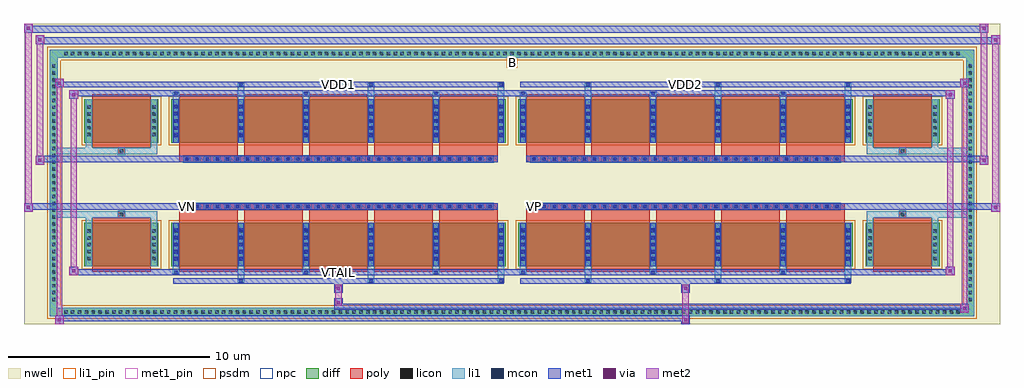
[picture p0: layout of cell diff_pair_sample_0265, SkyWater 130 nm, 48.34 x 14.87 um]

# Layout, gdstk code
import gdstk
lib = gdstk.Library(unit=1e-6, precision=5e-09)
def R(c, l, rs):  # rectangles x0, y0, x1, y1
    for r in rs: c.add(gdstk.rectangle(r[:2], r[2:], *l))
def A(c, l, x, y, w, h, nx, ny, dx, dy):  # array of equal rectangles
    R(c, l, [(x+i*dx, y+j*dy, x+i*dx+w, y+j*dy+h) for i in range(nx) for j in range(ny)])
def P(c, l, *ps):  # polygons
    for p in ps: c.add(gdstk.Polygon(p, *l))
nwell = (64, 20)
diff = (65, 20)
poly = (66, 20)
licon = (66, 44)
li1_pin = (67, 16)
li1 = (67, 20)
mcon = (67, 44)
met1_pin = (68, 16)
met1 = (68, 20)
via = (68, 44)
met2 = (69, 20)
psdm = (94, 20)
npc = (95, 20)

diff_pair_sample_0265 = lib.new_cell('diff_pair_sample_0265')
R(diff_pair_sample_0265, nwell, [(-24.17,-7,24.17,7.87), (-21.49,-5.19,-0.01,-0.805), (0.01,-5.19,21.49,-0.805), (-21.49,0.805,-0.01,5.19), (0.01,0.805,21.49,5.19)])
A(diff_pair_sample_0265, diff, -22.305, -6.6, 0.41, 0.41, 131, 2, 0.34, 12.79)
A(diff_pair_sample_0265, diff, -22.9, -5.985, 0.41, 0.41, 1, 35, 0, 0.34)
A(diff_pair_sample_0265, diff, 22.49, -5.985, 0.41, 0.41, 1, 35, 0, 0.34)
R(diff_pair_sample_0265, diff, [(-22.305,-6.6,22.305,-6.19), (-22.9,-5.985,-22.49,5.985), (22.49,-5.985,22.9,5.985), (-21.18,-4.145,-17.51,-1.985), (-16.87,-4.145,-0.32,-1.985), (0.32,-4.145,16.87,-1.985), (17.51,-4.145,21.18,-1.985), (-21.18,1.985,-17.51,4.145), (-16.87,1.985,-0.32,4.145), (0.32,1.985,16.87,4.145), (17.51,1.985,21.18,4.145), (-22.305,6.19,22.305,6.6)])
P(diff_pair_sample_0265, diff, [(22.9,6.6),(-22.9,6.6),(-22.9,-6.19),(-22.49,-6.19),(-22.49,6.19),(22.49,6.19),(22.49,-6.19),(-22.49,-6.19),(-22.9,-6.19),(-22.9,-6.6),(22.9,-6.6)])
A(diff_pair_sample_0265, poly, -16.48, -4.395, 2.89, 2.66, 5, 2, 3.22, 6.13)
A(diff_pair_sample_0265, poly, 0.71, -4.395, 2.89, 2.66, 5, 2, 3.22, 6.13)
A(diff_pair_sample_0265, poly, -16.48, -1.735, 2.89, 0.4, 5, 2, 3.22, 3.07)
A(diff_pair_sample_0265, poly, 0.71, -1.735, 2.89, 0.4, 5, 2, 3.22, 3.07)
A(diff_pair_sample_0265, poly, -16.26, -1.335, 0.33, 0.33, 31, 2, 0.5, 2.34)
A(diff_pair_sample_0265, poly, 0.93, -1.335, 0.33, 0.33, 31, 2, 0.5, 2.34)
R(diff_pair_sample_0265, poly, [(-20.79,-4.395,-17.9,-1.735), (17.9,-4.395,20.79,-1.735), (-19.51,-1.735,-19.18,-1.405), (-19.51,-1.735,-19.18,-1.405), (19.18,-1.735,19.51,-1.405), (19.18,-1.735,19.51,-1.405), (-16.48,-1.335,-0.71,-1.005), (0.71,-1.335,16.48,-1.005), (-16.48,1.005,-0.71,1.335), (0.71,1.005,16.48,1.335), (-19.51,1.405,-19.18,1.735), (-19.51,1.405,-19.18,1.735), (19.18,1.405,19.51,1.735), (19.18,1.405,19.51,1.735), (-20.79,1.735,-17.9,4.395), (17.9,1.735,20.79,4.395)])
A(diff_pair_sample_0265, licon, -22.185, -6.48, 0.17, 0.17, 131, 2, 0.34, 12.79)
A(diff_pair_sample_0265, licon, -22.78, -5.865, 0.17, 0.17, 1, 35, 0, 0.34)
A(diff_pair_sample_0265, licon, 22.61, -5.865, 0.17, 0.17, 1, 35, 0, 0.34)
A(diff_pair_sample_0265, licon, -21.04, -3.83, 0.17, 0.17, 1, 5, 0, 0.34)
A(diff_pair_sample_0265, licon, -17.82, -3.83, 0.17, 0.17, 1, 5, 0, 0.34)
A(diff_pair_sample_0265, licon, -16.73, -3.83, 0.17, 0.17, 6, 5, 3.22, 0.34)
A(diff_pair_sample_0265, licon, 0.46, -3.83, 0.17, 0.17, 6, 5, 3.22, 0.34)
A(diff_pair_sample_0265, licon, 17.65, -3.83, 0.17, 0.17, 1, 5, 0, 0.34)
A(diff_pair_sample_0265, licon, 20.87, -3.83, 0.17, 0.17, 1, 5, 0, 0.34)
A(diff_pair_sample_0265, licon, -16.18, -1.255, 0.17, 0.17, 31, 2, 0.5, 2.34)
A(diff_pair_sample_0265, licon, 1.01, -1.255, 0.17, 0.17, 31, 2, 0.5, 2.34)
A(diff_pair_sample_0265, licon, -21.04, 2.3, 0.17, 0.17, 1, 5, 0, 0.34)
A(diff_pair_sample_0265, licon, -17.82, 2.3, 0.17, 0.17, 1, 5, 0, 0.34)
A(diff_pair_sample_0265, licon, -16.73, 2.3, 0.17, 0.17, 6, 5, 3.22, 0.34)
A(diff_pair_sample_0265, licon, 0.46, 2.3, 0.17, 0.17, 6, 5, 3.22, 0.34)
A(diff_pair_sample_0265, licon, 17.65, 2.3, 0.17, 0.17, 1, 5, 0, 0.34)
A(diff_pair_sample_0265, licon, 20.87, 2.3, 0.17, 0.17, 1, 5, 0, 0.34)
R(diff_pair_sample_0265, licon, [(-19.43,-1.655,-19.26,-1.485), (19.26,-1.655,19.43,-1.485), (-19.43,1.485,-19.26,1.655), (19.26,1.485,19.43,1.655)])
R(diff_pair_sample_0265, li1_pin, [(-0.25,5.69,0.25,6.19)])
A(diff_pair_sample_0265, li1, -22.265, -6.56, 0.33, 0.33, 131, 2, 0.34, 12.79)
A(diff_pair_sample_0265, li1, -22.86, -5.945, 0.33, 0.33, 1, 35, 0, 0.34)
A(diff_pair_sample_0265, li1, 22.53, -5.945, 0.33, 0.33, 1, 35, 0, 0.34)
A(diff_pair_sample_0265, li1, -13.59, -4.95, 0.33, 0.805, 3, 2, 6.44, 9.095)
A(diff_pair_sample_0265, li1, -13.51, -4.95, 0.17, 0.17, 3, 2, 6.44, 9.73)
A(diff_pair_sample_0265, li1, 3.6, -4.95, 0.33, 0.805, 3, 2, 6.44, 9.095)
A(diff_pair_sample_0265, li1, 3.68, -4.95, 0.17, 0.17, 3, 2, 6.44, 9.73)
A(diff_pair_sample_0265, li1, -16.81, -4.52, 0.33, 0.375, 3, 2, 6.44, 8.665)
A(diff_pair_sample_0265, li1, -16.73, -4.52, 0.17, 0.17, 3, 2, 6.44, 8.87)
A(diff_pair_sample_0265, li1, 0.38, -4.52, 0.33, 0.375, 3, 2, 6.44, 8.665)
A(diff_pair_sample_0265, li1, 0.46, -4.52, 0.17, 0.17, 3, 2, 6.44, 8.87)
A(diff_pair_sample_0265, li1, -16.81, -4.145, 0.33, 2.16, 6, 2, 3.22, 6.13)
A(diff_pair_sample_0265, li1, 0.38, -4.145, 0.33, 2.16, 6, 2, 3.22, 6.13)
A(diff_pair_sample_0265, li1, -21.12, -3.91, 0.33, 0.33, 1, 5, 0, 0.34)
A(diff_pair_sample_0265, li1, -17.9, -3.91, 0.33, 0.33, 1, 5, 0, 0.34)
A(diff_pair_sample_0265, li1, -16.81, -3.91, 0.33, 0.33, 6, 5, 3.22, 0.34)
A(diff_pair_sample_0265, li1, 0.38, -3.91, 0.33, 0.33, 6, 5, 3.22, 0.34)
A(diff_pair_sample_0265, li1, 17.57, -3.91, 0.33, 0.33, 1, 5, 0, 0.34)
A(diff_pair_sample_0265, li1, 20.79, -3.91, 0.33, 0.33, 1, 5, 0, 0.34)
A(diff_pair_sample_0265, li1, -16.73, -3.87, 0.17, 0.17, 6, 5, 3.22, 0.36)
A(diff_pair_sample_0265, li1, -16.73, -3.87, 0.17, 1.61, 6, 2, 3.22, 6.13)
A(diff_pair_sample_0265, li1, 0.46, -3.87, 0.17, 0.17, 6, 5, 3.22, 0.36)
A(diff_pair_sample_0265, li1, 0.46, -3.87, 0.17, 1.61, 6, 2, 3.22, 6.13)
A(diff_pair_sample_0265, li1, -16.26, -1.335, 0.33, 0.33, 31, 2, 0.5, 2.34)
A(diff_pair_sample_0265, li1, 0.93, -1.335, 0.33, 0.33, 31, 2, 0.5, 2.34)
A(diff_pair_sample_0265, li1, -21.12, 2.22, 0.33, 0.33, 1, 5, 0, 0.34)
A(diff_pair_sample_0265, li1, -17.9, 2.22, 0.33, 0.33, 1, 5, 0, 0.34)
A(diff_pair_sample_0265, li1, -16.81, 2.22, 0.33, 0.33, 6, 5, 3.22, 0.34)
A(diff_pair_sample_0265, li1, 0.38, 2.22, 0.33, 0.33, 6, 5, 3.22, 0.34)
A(diff_pair_sample_0265, li1, 17.57, 2.22, 0.33, 0.33, 1, 5, 0, 0.34)
A(diff_pair_sample_0265, li1, 20.79, 2.22, 0.33, 0.33, 1, 5, 0, 0.34)
A(diff_pair_sample_0265, li1, -16.73, 2.26, 0.17, 0.17, 6, 5, 3.22, 0.36)
A(diff_pair_sample_0265, li1, 0.46, 2.26, 0.17, 0.17, 6, 5, 3.22, 0.36)
R(diff_pair_sample_0265, li1, [(-22.9,-6.6,-22.49,-6.19), (-22.9,-6.6,-22.49,-6.19), (-22.49,-6.6,22.49,-6.19), (22.49,-6.6,22.9,-6.19), (22.49,-6.6,22.9,-6.19), (-22.9,-6.19,-22.49,6.19), (22.49,-6.19,22.9,6.19), (-21.12,-4.145,-20.79,-1.985), (-17.9,-4.145,-17.57,-1.985), (17.57,-4.145,17.9,-1.985), (20.79,-4.145,21.12,-1.985), (-21.12,-1.985,-20.79,-1.405), (-17.9,-1.985,-17.57,-1.405), (17.57,-1.985,17.9,-1.405), (20.79,-1.985,21.12,-1.405), (-22.9,-1.735,-19.51,-1.405), (-21.12,-1.735,-19.51,-1.405), (-19.51,-1.735,-19.18,-1.405), (-19.18,-1.735,-17.57,-1.405), (17.57,-1.735,19.18,-1.405), (19.18,-1.735,19.51,-1.405), (19.18,-1.735,22.9,-1.405), (19.51,-1.735,21.12,-1.405), (-22.9,1.405,-19.51,1.735), (-21.12,1.405,-19.51,1.735), (-21.12,1.405,-20.79,1.985), (-19.51,1.405,-19.18,1.735), (-19.18,1.405,-17.57,1.735), (-17.9,1.405,-17.57,1.985), (17.57,1.405,19.18,1.735), (17.57,1.405,17.9,1.985), (19.18,1.405,19.51,1.735), (19.18,1.405,22.9,1.735), (19.51,1.405,21.12,1.735), (20.79,1.405,21.12,1.985), (-21.12,1.985,-20.79,4.145), (-17.9,1.985,-17.57,4.145), (17.57,1.985,17.9,4.145), (20.79,1.985,21.12,4.145), (-22.9,6.19,-22.49,6.6), (-22.9,6.19,-22.49,6.6), (-22.49,6.19,22.49,6.6), (22.49,6.19,22.9,6.6), (22.49,6.19,22.9,6.6)])
A(diff_pair_sample_0265, mcon, -13.51, -4.95, 0.17, 0.17, 3, 2, 6.44, 9.73)
A(diff_pair_sample_0265, mcon, 3.68, -4.95, 0.17, 0.17, 3, 2, 6.44, 9.73)
A(diff_pair_sample_0265, mcon, -16.73, -4.52, 0.17, 0.17, 3, 2, 6.44, 8.87)
A(diff_pair_sample_0265, mcon, 0.46, -4.52, 0.17, 0.17, 3, 2, 6.44, 8.87)
A(diff_pair_sample_0265, mcon, -16.73, -3.87, 0.17, 0.17, 6, 5, 3.22, 0.36)
A(diff_pair_sample_0265, mcon, 0.46, -3.87, 0.17, 0.17, 6, 5, 3.22, 0.36)
A(diff_pair_sample_0265, mcon, -16.18, -1.255, 0.17, 0.17, 31, 2, 0.5, 2.34)
A(diff_pair_sample_0265, mcon, 1.01, -1.255, 0.17, 0.17, 31, 2, 0.5, 2.34)
A(diff_pair_sample_0265, mcon, -16.73, 2.26, 0.17, 0.17, 6, 5, 3.22, 0.36)
A(diff_pair_sample_0265, mcon, 0.46, 2.26, 0.17, 0.17, 6, 5, 3.22, 0.36)
R(diff_pair_sample_0265, met1_pin, [(-8.73,-4.56,-8.46,-4.29), (-16.23,-1.295,-15.96,-1.025), (0.96,-1.295,1.23,-1.025), (-8.73,4.74,-8.46,5.01), (8.46,4.74,8.73,5.01)])
A(diff_pair_sample_0265, met1, -13.57, -5.01, 0.29, 0.29, 3, 2, 6.44, 9.73)
A(diff_pair_sample_0265, met1, 3.62, -5.01, 0.29, 0.29, 3, 2, 6.44, 9.73)
A(diff_pair_sample_0265, met1, -16.79, -4.58, 0.29, 0.29, 3, 2, 6.44, 8.87)
A(diff_pair_sample_0265, met1, 0.4, -4.58, 0.29, 0.29, 3, 2, 6.44, 8.87)
A(diff_pair_sample_0265, met1, -16.79, -4.145, 0.29, 2.16, 6, 2, 3.22, 6.13)
A(diff_pair_sample_0265, met1, 0.4, -4.145, 0.29, 2.16, 6, 2, 3.22, 6.13)
A(diff_pair_sample_0265, met1, -16.79, -3.93, 0.29, 0.29, 6, 5, 3.22, 0.36)
A(diff_pair_sample_0265, met1, 0.4, -3.93, 0.29, 0.29, 6, 5, 3.22, 0.36)
A(diff_pair_sample_0265, met1, -16.24, -1.315, 0.29, 0.29, 31, 2, 0.5, 2.34)
A(diff_pair_sample_0265, met1, 0.95, -1.315, 0.29, 0.29, 31, 2, 0.5, 2.34)
A(diff_pair_sample_0265, met1, -16.79, 2.2, 0.29, 0.29, 6, 5, 3.22, 0.36)
A(diff_pair_sample_0265, met1, 0.4, 2.2, 0.29, 0.29, 6, 5, 3.22, 0.36)
R(diff_pair_sample_0265, met1, [(-22.63,-7,-22.2,-6.57), (8.38,-7,8.81,-6.57), (-22.63,-6.86,8.81,-6.57), (22.2,-6.43,22.63,-6), (-8.81,-6.29,22.63,-6), (-8.81,-6.15,-8.38,-5.72), (-8.81,-5.44,-8.38,-5.01), (8.38,-5.44,8.81,-5.01), (-16.79,-5.01,-0.4,-4.72), (0.4,-5.01,16.79,-4.72), (-21.92,-4.58,-21.49,-4.15), (-21.92,-4.58,-16.79,-4.29), (-16.79,-4.58,-0.4,-4.29), (-0.4,-4.58,0.4,-4.29), (0.4,-4.58,16.79,-4.29), (16.79,-4.58,21.92,-4.29), (21.49,-4.58,21.92,-4.15), (-24.17,-1.435,-23.74,-1.005), (23.74,-1.435,24.17,-1.005), (-24.17,-1.335,-0.71,-1.005), (-16.48,-1.335,-0.71,-1.005), (0.71,-1.335,16.48,-1.005), (0.71,-1.335,24.17,-1.005), (-23.6,0.905,-23.17,1.335), (23.17,0.905,23.6,1.335), (-23.6,1.005,-16.48,1.335), (-16.48,1.005,-0.71,1.335), (0.71,1.005,16.48,1.335), (16.48,1.005,23.6,1.335), (-21.92,4.15,-21.49,4.58), (21.49,4.15,21.92,4.58), (-21.92,4.29,-16.79,4.58), (-16.79,4.29,-0.4,4.58), (-0.4,4.29,0.4,4.58), (0.4,4.29,16.79,4.58), (16.79,4.29,21.92,4.58), (-22.63,4.72,-22.2,5.15), (-22.63,4.72,-16.79,5.01), (-16.79,4.72,-0.4,5.01), (0.4,4.72,16.79,5.01), (16.79,4.72,22.63,5.01), (22.2,4.72,22.63,5.15), (-23.6,6.87,-23.17,7.3), (-23.6,6.87,-21.49,7.2), (-21.49,6.87,21.49,7.2), (21.49,6.87,24.17,7.2), (23.74,6.87,24.17,7.3), (-24.17,7.44,-23.74,7.87), (-24.17,7.44,-21.49,7.77), (-21.49,7.44,21.49,7.77), (21.49,7.44,23.6,7.77), (23.17,7.44,23.6,7.87)])
R(diff_pair_sample_0265, via, [(-22.49,-6.86,-22.34,-6.71), (8.52,-6.86,8.67,-6.71), (22.34,-6.29,22.49,-6.14), (-8.67,-6.01,-8.52,-5.86), (-8.67,-5.3,-8.52,-5.15), (8.52,-5.3,8.67,-5.15), (-21.78,-4.44,-21.63,-4.29), (21.63,-4.44,21.78,-4.29), (-24.03,-1.295,-23.88,-1.145), (23.88,-1.295,24.03,-1.145), (-23.46,1.045,-23.31,1.195), (23.31,1.045,23.46,1.195), (-21.78,4.29,-21.63,4.44), (21.63,4.29,21.78,4.44), (-22.49,4.86,-22.34,5.01), (22.34,4.86,22.49,5.01), (-23.46,7.01,-23.31,7.16), (23.88,7.01,24.03,7.16), (-24.03,7.58,-23.88,7.73), (23.31,7.58,23.46,7.73)])
R(diff_pair_sample_0265, met2, [(-22.63,-7,-22.2,-6.57), (-22.56,-7,-22.27,5.15), (-22.27,-7,-22.2,-6.57), (-22.58,-6.95,-22.25,-6.62), (8.43,-6.95,8.76,-6.62), (8.43,-6.62,8.76,-5.39), (22.2,-6.43,22.63,-6), (22.27,-6.43,22.56,5.15), (22.56,-6.43,22.63,-6), (22.25,-6.38,22.58,-6.05), (-8.76,-6.1,-8.43,-5.77), (-8.76,-5.77,-8.43,-5.39), (-8.76,-5.39,-8.43,-5.06), (8.43,-5.39,8.76,-5.06), (-21.92,-4.58,-21.49,-4.15), (-21.85,-4.58,-21.56,4.58), (-21.56,-4.58,-21.49,-4.15), (21.49,-4.58,21.92,-4.15), (21.56,-4.58,21.85,4.58), (21.85,-4.58,21.92,-4.15), (-21.87,-4.53,-21.54,-4.2), (21.54,-4.53,21.87,-4.2), (-24.17,-1.435,-23.74,-1.005), (-24.12,-1.435,-23.79,7.87), (-23.79,-1.435,-23.74,-1.005), (23.74,-1.435,24.17,-1.005), (23.79,-1.435,24.12,7.3), (24.12,-1.435,24.17,-1.005), (-24.12,-1.385,-23.79,-1.055), (23.79,-1.385,24.12,-1.055), (-23.6,0.905,-23.17,1.335), (-23.55,0.905,-23.22,7.3), (-23.22,0.905,-23.17,1.335), (23.17,0.905,23.6,1.335), (23.22,0.905,23.55,7.87), (23.55,0.905,23.6,1.335), (-23.55,0.955,-23.22,1.285), (23.22,0.955,23.55,1.285), (-21.92,4.15,-21.49,4.58), (-21.56,4.15,-21.49,4.58), (21.49,4.15,21.92,4.58), (21.85,4.15,21.92,4.58), (-21.87,4.2,-21.54,4.53), (21.54,4.2,21.87,4.53), (-22.63,4.72,-22.2,5.15), (-22.27,4.72,-22.2,5.15), (22.2,4.72,22.63,5.15), (22.56,4.72,22.63,5.15), (-22.58,4.77,-22.25,5.1), (22.25,4.77,22.58,5.1), (-23.6,6.87,-23.17,7.3), (-23.22,6.87,-23.17,7.3), (23.74,6.87,24.17,7.3), (24.12,6.87,24.17,7.3), (-23.55,6.92,-23.22,7.25), (23.79,6.92,24.12,7.25), (-24.17,7.44,-23.74,7.87), (-23.79,7.44,-23.74,7.87), (23.17,7.44,23.6,7.87), (23.55,7.44,23.6,7.87), (-24.12,7.49,-23.79,7.82), (23.22,7.49,23.55,7.82)])
R(diff_pair_sample_0265, psdm, [(-21.31,-4.275,-17.38,-1.855), (-17,-4.275,-0.19,-1.855), (0.19,-4.275,17,-1.855), (17.38,-4.275,21.31,-1.855), (-21.31,1.855,-17.38,4.275), (-17,1.855,-0.19,4.275), (0.19,1.855,17,4.275), (17.38,1.855,21.31,4.275)])
P(diff_pair_sample_0265, psdm, [(23.03,6.73),(-23.03,6.73),(-23.03,-6.06),(-22.36,-6.06),(-22.36,6.06),(22.36,6.06),(22.36,-6.06),(-22.36,-6.06),(-23.03,-6.06),(-23.03,-6.73),(23.03,-6.73)])
A(diff_pair_sample_0265, npc, -16.28, -1.355, 0.37, 0.37, 31, 2, 0.5, 2.34)
A(diff_pair_sample_0265, npc, 0.91, -1.355, 0.37, 0.37, 31, 2, 0.5, 2.34)
R(diff_pair_sample_0265, npc, [(-19.53,-1.755,-19.16,-1.385), (19.16,-1.755,19.53,-1.385), (-16.28,-1.355,-15.41,-0.985), (-16.28,-1.355,-15.41,-0.985), (-15.78,-1.355,-14.91,-0.985), (-15.78,-1.355,-14.91,-0.985), (-15.28,-1.355,-14.41,-0.985), (-15.28,-1.355,-14.41,-0.985), (-14.78,-1.355,-13.91,-0.985), (-14.78,-1.355,-13.91,-0.985), (-14.28,-1.355,-13.41,-0.985), (-14.28,-1.355,-13.41,-0.985), (-13.78,-1.355,-12.91,-0.985), (-13.78,-1.355,-12.91,-0.985), (-13.28,-1.355,-12.41,-0.985), (-13.28,-1.355,-12.41,-0.985), (-12.78,-1.355,-11.91,-0.985), (-12.78,-1.355,-11.91,-0.985), (-12.28,-1.355,-11.41,-0.985), (-12.28,-1.355,-11.41,-0.985), (-11.78,-1.355,-10.91,-0.985), (-11.78,-1.355,-10.91,-0.985), (-11.28,-1.355,-10.41,-0.985), (-11.28,-1.355,-10.41,-0.985), (-10.78,-1.355,-9.91,-0.985), (-10.78,-1.355,-9.91,-0.985), (-10.28,-1.355,-9.41,-0.985), (-10.28,-1.355,-9.41,-0.985), (-9.78,-1.355,-8.91,-0.985), (-9.78,-1.355,-8.91,-0.985), (-9.28,-1.355,-8.41,-0.985), (-9.28,-1.355,-8.41,-0.985), (-8.78,-1.355,-7.91,-0.985), (-8.78,-1.355,-7.91,-0.985), (-8.28,-1.355,-7.41,-0.985), (-8.28,-1.355,-7.41,-0.985), (-7.78,-1.355,-6.91,-0.985), (-7.78,-1.355,-6.91,-0.985), (-7.28,-1.355,-6.41,-0.985), (-7.28,-1.355,-6.41,-0.985), (-6.78,-1.355,-5.91,-0.985), (-6.78,-1.355,-5.91,-0.985), (-6.28,-1.355,-5.41,-0.985), (-6.28,-1.355,-5.41,-0.985), (-5.78,-1.355,-4.91,-0.985), (-5.78,-1.355,-4.91,-0.985), (-5.28,-1.355,-4.41,-0.985), (-5.28,-1.355,-4.41,-0.985), (-4.78,-1.355,-3.91,-0.985), (-4.78,-1.355,-3.91,-0.985), (-4.28,-1.355,-3.41,-0.985), (-4.28,-1.355,-3.41,-0.985), (-3.78,-1.355,-2.91,-0.985), (-3.78,-1.355,-2.91,-0.985), (-3.28,-1.355,-2.41,-0.985), (-3.28,-1.355,-2.41,-0.985), (-2.78,-1.355,-1.91,-0.985), (-2.78,-1.355,-1.91,-0.985), (-2.28,-1.355,-1.41,-0.985), (-2.28,-1.355,-1.41,-0.985), (-1.78,-1.355,-0.91,-0.985), (-1.78,-1.355,-0.91,-0.985), (0.91,-1.355,1.78,-0.985), (0.91,-1.355,1.78,-0.985), (1.41,-1.355,2.28,-0.985), (1.41,-1.355,2.28,-0.985), (1.91,-1.355,2.78,-0.985), (1.91,-1.355,2.78,-0.985), (2.41,-1.355,3.28,-0.985), (2.41,-1.355,3.28,-0.985), (2.91,-1.355,3.78,-0.985), (2.91,-1.355,3.78,-0.985), (3.41,-1.355,4.28,-0.985), (3.41,-1.355,4.28,-0.985), (3.91,-1.355,4.78,-0.985), (3.91,-1.355,4.78,-0.985), (4.41,-1.355,5.28,-0.985), (4.41,-1.355,5.28,-0.985), (4.91,-1.355,5.78,-0.985), (4.91,-1.355,5.78,-0.985), (5.41,-1.355,6.28,-0.985), (5.41,-1.355,6.28,-0.985), (5.91,-1.355,6.78,-0.985), (5.91,-1.355,6.78,-0.985), (6.41,-1.355,7.28,-0.985), (6.41,-1.355,7.28,-0.985), (6.91,-1.355,7.78,-0.985), (6.91,-1.355,7.78,-0.985), (7.41,-1.355,8.28,-0.985), (7.41,-1.355,8.28,-0.985), (7.91,-1.355,8.78,-0.985), (7.91,-1.355,8.78,-0.985), (8.41,-1.355,9.28,-0.985), (8.41,-1.355,9.28,-0.985), (8.91,-1.355,9.78,-0.985), (8.91,-1.355,9.78,-0.985), (9.41,-1.355,10.28,-0.985), (9.41,-1.355,10.28,-0.985), (9.91,-1.355,10.78,-0.985), (9.91,-1.355,10.78,-0.985), (10.41,-1.355,11.28,-0.985), (10.41,-1.355,11.28,-0.985), (10.91,-1.355,11.78,-0.985), (10.91,-1.355,11.78,-0.985), (11.41,-1.355,12.28,-0.985), (11.41,-1.355,12.28,-0.985), (11.91,-1.355,12.78,-0.985), (11.91,-1.355,12.78,-0.985), (12.41,-1.355,13.28,-0.985), (12.41,-1.355,13.28,-0.985), (12.91,-1.355,13.78,-0.985), (12.91,-1.355,13.78,-0.985), (13.41,-1.355,14.28,-0.985), (13.41,-1.355,14.28,-0.985), (13.91,-1.355,14.78,-0.985), (13.91,-1.355,14.78,-0.985), (14.41,-1.355,15.28,-0.985), (14.41,-1.355,15.28,-0.985), (14.91,-1.355,15.78,-0.985), (14.91,-1.355,15.78,-0.985), (15.41,-1.355,16.28,-0.985), (15.41,-1.355,16.28,-0.985), (-16.28,0.985,-15.41,1.355), (-16.28,0.985,-15.41,1.355), (-15.78,0.985,-14.91,1.355), (-15.78,0.985,-14.91,1.355), (-15.28,0.985,-14.41,1.355), (-15.28,0.985,-14.41,1.355), (-14.78,0.985,-13.91,1.355), (-14.78,0.985,-13.91,1.355), (-14.28,0.985,-13.41,1.355), (-14.28,0.985,-13.41,1.355), (-13.78,0.985,-12.91,1.355), (-13.78,0.985,-12.91,1.355), (-13.28,0.985,-12.41,1.355), (-13.28,0.985,-12.41,1.355), (-12.78,0.985,-11.91,1.355), (-12.78,0.985,-11.91,1.355), (-12.28,0.985,-11.41,1.355), (-12.28,0.985,-11.41,1.355), (-11.78,0.985,-10.91,1.355), (-11.78,0.985,-10.91,1.355), (-11.28,0.985,-10.41,1.355), (-11.28,0.985,-10.41,1.355), (-10.78,0.985,-9.91,1.355), (-10.78,0.985,-9.91,1.355), (-10.28,0.985,-9.41,1.355), (-10.28,0.985,-9.41,1.355), (-9.78,0.985,-8.91,1.355), (-9.78,0.985,-8.91,1.355), (-9.28,0.985,-8.41,1.355), (-9.28,0.985,-8.41,1.355), (-8.78,0.985,-7.91,1.355), (-8.78,0.985,-7.91,1.355), (-8.28,0.985,-7.41,1.355), (-8.28,0.985,-7.41,1.355), (-7.78,0.985,-6.91,1.355), (-7.78,0.985,-6.91,1.355), (-7.28,0.985,-6.41,1.355), (-7.28,0.985,-6.41,1.355), (-6.78,0.985,-5.91,1.355), (-6.78,0.985,-5.91,1.355), (-6.28,0.985,-5.41,1.355), (-6.28,0.985,-5.41,1.355), (-5.78,0.985,-4.91,1.355), (-5.78,0.985,-4.91,1.355), (-5.28,0.985,-4.41,1.355), (-5.28,0.985,-4.41,1.355), (-4.78,0.985,-3.91,1.355), (-4.78,0.985,-3.91,1.355), (-4.28,0.985,-3.41,1.355), (-4.28,0.985,-3.41,1.355), (-3.78,0.985,-2.91,1.355), (-3.78,0.985,-2.91,1.355), (-3.28,0.985,-2.41,1.355), (-3.28,0.985,-2.41,1.355), (-2.78,0.985,-1.91,1.355), (-2.78,0.985,-1.91,1.355), (-2.28,0.985,-1.41,1.355), (-2.28,0.985,-1.41,1.355), (-1.78,0.985,-0.91,1.355), (-1.78,0.985,-0.91,1.355), (0.91,0.985,1.78,1.355), (0.91,0.985,1.78,1.355), (1.41,0.985,2.28,1.355), (1.41,0.985,2.28,1.355), (1.91,0.985,2.78,1.355), (1.91,0.985,2.78,1.355), (2.41,0.985,3.28,1.355), (2.41,0.985,3.28,1.355), (2.91,0.985,3.78,1.355), (2.91,0.985,3.78,1.355), (3.41,0.985,4.28,1.355), (3.41,0.985,4.28,1.355), (3.91,0.985,4.78,1.355), (3.91,0.985,4.78,1.355), (4.41,0.985,5.28,1.355), (4.41,0.985,5.28,1.355), (4.91,0.985,5.78,1.355), (4.91,0.985,5.78,1.355), (5.41,0.985,6.28,1.355), (5.41,0.985,6.28,1.355), (5.91,0.985,6.78,1.355), (5.91,0.985,6.78,1.355), (6.41,0.985,7.28,1.355), (6.41,0.985,7.28,1.355), (6.91,0.985,7.78,1.355), (6.91,0.985,7.78,1.355), (7.41,0.985,8.28,1.355), (7.41,0.985,8.28,1.355), (7.91,0.985,8.78,1.355), (7.91,0.985,8.78,1.355), (8.41,0.985,9.28,1.355), (8.41,0.985,9.28,1.355), (8.91,0.985,9.78,1.355), (8.91,0.985,9.78,1.355), (9.41,0.985,10.28,1.355), (9.41,0.985,10.28,1.355), (9.91,0.985,10.78,1.355), (9.91,0.985,10.78,1.355), (10.41,0.985,11.28,1.355), (10.41,0.985,11.28,1.355), (10.91,0.985,11.78,1.355), (10.91,0.985,11.78,1.355), (11.41,0.985,12.28,1.355), (11.41,0.985,12.28,1.355), (11.91,0.985,12.78,1.355), (11.91,0.985,12.78,1.355), (12.41,0.985,13.28,1.355), (12.41,0.985,13.28,1.355), (12.91,0.985,13.78,1.355), (12.91,0.985,13.78,1.355), (13.41,0.985,14.28,1.355), (13.41,0.985,14.28,1.355), (13.91,0.985,14.78,1.355), (13.91,0.985,14.78,1.355), (14.41,0.985,15.28,1.355), (14.41,0.985,15.28,1.355), (14.91,0.985,15.78,1.355), (14.91,0.985,15.78,1.355), (15.41,0.985,16.28,1.355), (15.41,0.985,16.28,1.355), (-19.53,1.385,-19.16,1.755), (19.16,1.385,19.53,1.755)])
diff_pair_sample_0265.add(gdstk.Label('VTAIL', (-8.595,-4.425), layer=68, texttype=5))
diff_pair_sample_0265.add(gdstk.Label('VN', (-16.095,-1.16), layer=68, texttype=5))
diff_pair_sample_0265.add(gdstk.Label('VP', (1.095,-1.16), layer=68, texttype=5))
diff_pair_sample_0265.add(gdstk.Label('B', (0,5.94), layer=67, texttype=5))
diff_pair_sample_0265.add(gdstk.Label('VDD2', (8.595,4.875), layer=68, texttype=5))
diff_pair_sample_0265.add(gdstk.Label('VDD1', (-8.595,4.875), layer=68, texttype=5))

lib.write_gds('diff_pair_sample_0265.gds')
